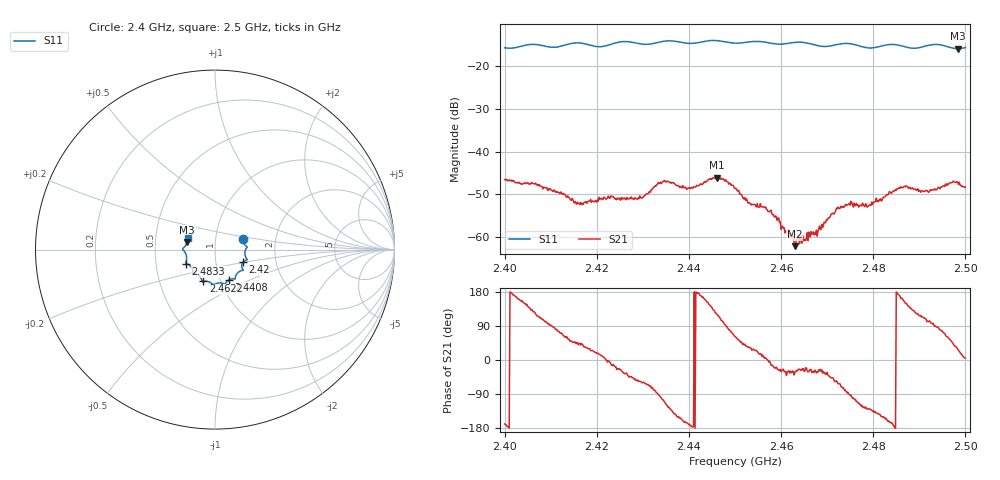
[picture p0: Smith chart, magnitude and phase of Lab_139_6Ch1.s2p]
# Hz S RI R 50
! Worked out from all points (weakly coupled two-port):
!   601 points, 2.4 GHz to 2.5 GHz, reference 50 ohm
!   highest |S21| = -46.10 dB at 2.446 GHz (marker M1); lowest = -62.2 dB at 2.463 GHz (marker M2)
!   lowest |S11| = -15.9 dB at 2.4983 GHz (marker M3), VSWR 1.38, Z = 36.5 + j3.09 ohm
!   |S11| at or under -10 dB: start of sweep to end of sweep
!   S12 and S22 are empty: the file has one direction only
!   S11 on the Smith chart (normalised r, x): 2.4 GHz: 1.35, +0.16; 2.42 GHz: 1.35, -0.20; 2.4408 GHz: 1.09, -0.38; 2.4622 GHz: 0.83, -0.30; 2.4833 GHz: 0.71, -0.12; 2.5 GHz: 0.73, +0.10
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2.4e9  0.1539 0.0592  -0.00459 -0.000915  0 0  0 0
2.406333e9  0.1805 0.0147  -0.00251 0.00333  0 0  0 0
2.416667e9  0.178 -0.057  0.00174 0.00165  0 0  0 0
2.42e9  0.155 -0.0708  0.0024 0.000854  0 0  0 0
2.429333e9  0.1392 -0.1204  0.00166 -0.00252  0 0  0 0
2.433333e9  0.1132 -0.1537  9.14e-06 -0.00432  0 0  0 0
2.440833e9  0.0764 -0.1697  -0.00368 -0.000292  0 0  0 0
2.446e9  0.0531 -0.1932  -0.00266 0.00418  0 0  0 0
2.45e9  0.0249 -0.1855  0.00176 0.00322  0 0  0 0
2.453333e9  -0.00255 -0.1941  0.00209 0.0013  0 0  0 0
2.457833e9  -0.0234 -0.185  0.00199 -0.0005  0 0  0 0
2.462167e9  -0.0645 -0.177  0.000902 -0.000596  0 0  0 0
2.463e9  -0.069 -0.1779  0.000657 -0.00041  0 0  0 0
2.466667e9  -0.075 -0.1662  0.000895 -0.000582  0 0  0 0
2.4725e9  -0.1195 -0.1368  0.00101 -0.00192  0 0  0 0
2.475e9  -0.1246 -0.1357  -0.000156 -0.00234  0 0  0 0
2.479e9  -0.1298 -0.1009  -0.00143 -0.00178  0 0  0 0
2.483333e9  -0.1617 -0.0788  -0.00298 -0.00104  0 0  0 0
2.487e9  -0.1586 -0.0585  -0.0033 0.00198  0 0  0 0
2.491667e9  -0.1748 -0.00425  -0.000677 0.00343  0 0  0 0
2.498333e9  -0.1551 0.0413  0.00382 0.00208  0 0  0 0
2.5e9  -0.1527 0.0654  0.00381 0.000302  0 0  0 0
